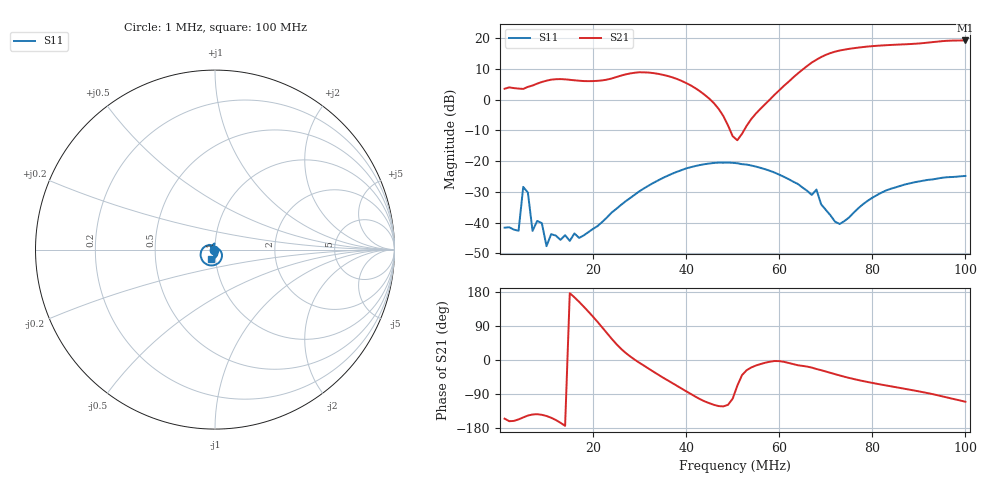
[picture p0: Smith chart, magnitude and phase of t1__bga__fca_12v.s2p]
# HZ S RI R 50
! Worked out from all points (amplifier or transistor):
!   100 points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, 1 MHz to 100 MHz, reference 50 ohm
!   highest |S21| = 19.3 dB at 100 MHz (marker M1)
!   |S21| within 3 dB of that: 73.99 MHz to end of sweep
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1000001  -0.00824 0.00033  -1.363 -0.6403  0 0  0 0
4000001  -0.00723 0.00136  -1.39 -0.5973  0 0  0 0
5000001  -0.000995 -0.038  -1.315 -0.7126  0 0  0 0
7000001  -0.007 0.00209  -1.37 -1.003  0 0  0 0
1.1e7  -0.00488 0.00425  -1.875 -0.9812  0 0  0 0
1.5e7  0.000183 0.00502  -2.098 0.1367  0 0  0 0
1.8e7  0.000317 0.00617  -1.555 1.268  0 0  0 0
2.2e7  0.00767 0.00684  0.1601 2.053  0 0  0 0
2.7e7  0.0222 0.0015  2.442 0.8307  0 0  0 0
3e7  0.0314 -0.00792  2.767 -0.3703  0 0  0 0
3.4e7  0.0387 -0.0294  2.052 -1.644  0 0  0 0
3.8e7  0.0322 -0.0586  0.8169 -2.016  0 0  0 0
4.3e7  -0.00346 -0.0863  -0.3165 -1.327  0 0  0 0
5.1e7  -0.0737 -0.0556  0.0823 -0.2025  0 0  0 0
6.1e7  -0.0521 0.0193  1.669 -0.1384  0 0  0 0
6.7e7  -0.0159 0.0232  3.776 -1.38  0 0  0 0
7e7  -0.00164 0.016  4.621 -2.704  0 0  0 0
7.3e7  0.00786 0.0053  4.775 -4.119  0 0  0 0
7.8e7  0.0141 -0.014  4.062 -5.918  0 0  0 0
8.4e7  0.00942 -0.0343  2.729 -7.275  0 0  0 0
9.5e7  -0.0129 -0.052  -0.9129 -8.907  0 0  0 0
1e8  -0.0235 -0.0522  -3.167 -8.628  0 0  0 0
